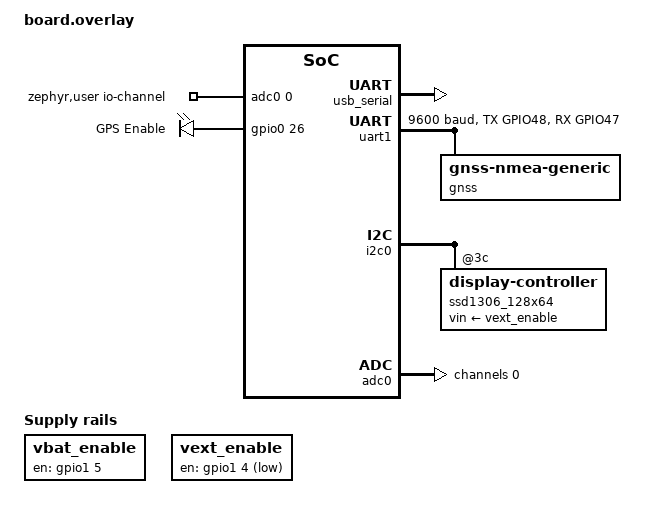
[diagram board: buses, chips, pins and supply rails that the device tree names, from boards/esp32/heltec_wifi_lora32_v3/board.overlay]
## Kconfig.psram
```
# SPDX-License-Identifier: MIT
#
# DT-driven PSRAM auto-enable for ESP32 boards.
#
# Each ESP32 board DTS sets &psram0 { size = ...; } when its module has PSRAM
# stuffed (R-suffix in the Espressif part number); since Zephyr 4.5 the board
# declares it, the per-module esp32*_wroom_n*r*.dtsi files are gone.  We
# auto-enable PSRAM whenever the DTS size is non-zero — the upstream
# Kconfig.spiram then auto-reads ESP_SPIRAM_SIZE from the same DT property.
#
# Boards without PSRAM leave psram0 at the SoC dtsi's size = 0 — auto-detect
# leaves PSRAM off for them.
# ESP32-C3 and ESP32-C6 are outside Kconfig.spiram's SOC gate entirely, so
# this symbol doesn't exist on those builds — no effect.
#
# Mode (QUAD vs OCT) cannot be auto-picked here: upstream Kconfig.spiram
# sets an unconditional `default SPIRAM_MODE_QUAD` on the choice, which wins
# over any conditional default we'd add. ESP32-S3 R8 boards (8 MB OPI octal
# PSRAM) must set CONFIG_SPIRAM_MODE_OCT=y in their board.conf. R2 boards
# (2 MB QSPI quad) need nothing — QUAD is the upstream default.

config ESP_SPIRAM
	default y if (SOC_SERIES_ESP32 || SOC_SERIES_ESP32S2 || SOC_SERIES_ESP32S3 || SOC_SERIES_ESP32C5) && \
		"$(dt_node_int_prop_int,$(dt_nodelabel_path,psram0),size)" != 0
```

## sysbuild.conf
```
# ZephCore Sysbuild Configuration
# Enables MCUboot bootloader for ESP32 OTA firmware updates.
# Only used when building with --sysbuild flag (ESP32 repeater builds).
# nRF52/nRF54L/MG24 builds do NOT use --sysbuild and are unaffected.

SB_CONFIG_BOOTLOADER_MCUBOOT=y
SB_CONFIG_MCUBOOT_MODE_OVERWRITE_ONLY=y

# Explicit since Zephyr 4.5: 51ef282b5f1 moved Espressif sysbuild to the generic
# MCUboot defaults, whose signature type is RSA.  That silently turned the
# bootloader into an RSA-2048 verifier keyed to MCUboot's public development
# key -- no real security, ~19 KB of mbedTLS/PSA that overflowed the 64 KB
# MCUboot slot on several boards (the app written at 0x10000 then overwrites
# the bootloader's tail), and a bootloader that rejects the hash-only images
# every deployed ESP32 node and WiFi-OTA update uses.  NONE = hash check only,
# exactly what v4.4 built.  Moving to real signing (own key) is a separate
# decision with OTA consequences.
SB_CONFIG_BOOT_SIGNATURE_TYPE_NONE=y
```

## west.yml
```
manifest:
  remotes:
    - name: zephyrproject-rtos
      url-base: https://github.com/zephyrproject-rtos

  projects:
    - name: zephyr
      remote: zephyrproject-rtos
      revision: 1ee3b93134be23c16ab16b9eb4183bfef63447a6
      import: true

  self:
    path: zephcore
```

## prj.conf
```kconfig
# ZephCore - Main Project Configuration
#
# This file contains ONLY console/logging setup and includes common configs.
# Platform-specific configs are in boards/common/<platform>_common.conf
# Board-specific configs (pins only) are in boards/<board>.conf
#
# Include hierarchy:
#   prj.conf (this file - logging/console)
#   → boards/common/zephcore_common.conf (app features, crypto, sensors)
#   → boards/common/<platform>_common.conf (BLE, flash, storage)
#   → boards/<board>.conf (pins, board-specific features)

# ========== Console & Logging ==========
CONFIG_CONSOLE=y
CONFIG_UART_CONSOLE=y
CONFIG_UART_INTERRUPT_DRIVEN=y

# Production by default — add boards/common/debug.conf to enable logging.
CONFIG_LOG=n
CONFIG_ASSERT=n
CONFIG_USE_SEGGER_RTT=n
CONFIG_THREAD_NAME=n

# Reboot on any fatal error (stack overflow, hard fault, etc.) instead of
# spinning forever. Asserts are disabled so they won't reach here, but all
# other fatal paths (k_panic, CPU exceptions) still get a clean reboot.
CONFIG_ZEPHCORE_RESET_ON_FATAL_ERROR=y

# ========== Power Management ==========
# Device PM only — CONFIG_PM (system PM) stays off. nRF52/nRF54L have no
# devicetree power-states in Zephyr 4.4 (WFI in the idle thread is already
# the low-power System ON state); ESP32/STM32WL do have states but need
# their own bring-up (BLE/WiFi/radio wake paths) before CONFIG_PM can go on.
#
# CONFIG_PM_DEVICE alone suspends nothing automatically: PM actions run only
# when we call pm_device_action_run() (always from the main thread). The
# system-managed auto-suspend (PM_DEVICE_SYSTEM_MANAGED) is compiled only
# under CONFIG_PM; it is pinned off here so a platform that later enables
# CONFIG_PM can't silently start suspending devices from the idle thread.
#
# Why device PM is on:
# - gnss-nmea-generic inits pm_device_init_suspended() under CONFIG_PM_DEVICE
#   and never opens its modem pipe until resumed; ZephyrGPSManager resumes it
#   once at boot (this was the old "PM broke GPS" trap).
# - GPS standby suspends the GNSS UARTE — an armed UARTE RX holds HFCLK
#   (~0.5-1 mA continuous on nRF52840) even with the GPS module powered off.
#   See adapters/gps/ZephyrGPSManager.cpp for the full strategy.
CONFIG_PM_DEVICE=y
CONFIG_PM_DEVICE_SYSTEM_MANAGED=n
```

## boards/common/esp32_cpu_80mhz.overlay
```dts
/*
 * SPDX-License-Identifier: MIT
 * ESP32 family: run the CPU at 80 MHz.
 *
 * Espressif parts have no equivalent of the nRF52's "idle at microamps in
 * WFI": WAITI gates the core clock but leaves the PLL, peripherals and RAM
 * powered, so an idle ESP32 sits in the tens of mA and CPU frequency is a
 * first-order term in that. Arduino MeshCore ships its ESP32 variants at
 * 80 MHz for the same reason (ESP32_CPU_FREQ=80 in variants/heltec_v3,
 * heltec_v4, heltec_tracker, rak3112, xiao_c3, ...).
 *
 * hal_espressif computes CONFIG_ESP_DEFAULT_CPU_FREQ_MHZ as this property / 1e6
 * straight from /cpus/cpu@0, so 80 needs no module patch.  (Older pins used a
 * fixed 96/120/160/240 map that omitted 80; we carried hal-espressif 0002 for
 * it until the Zephyr-main bump.)  Do NOT use 96 -- it is an ESP32-H2
 * frequency, rejected by rtc_clk_cpu_freq_mhz_to_config() on every SoC we
 * build, and it fails at BOOT rather than at build time.
 *
 * The mesh workload is event-driven and nowhere near CPU-bound: wake on a
 * packet, run some AES and LittleFS, go back to idle. Airtime dominates every
 * latency that matters — the slowest presets spend seconds on air per packet.
 *
 * Only cpu0 is set, deliberately. clock_control_esp32.c reads exactly
 * DT_INST(0, DT_CPU_COMPAT) — cpu0 — so a cpu1 property is never consulted,
 * and omitting it lets this one file serve the dual-core Xtensa parts (S3,
 * classic) and the single-core RISC-V parts (C3, C6) alike. Referencing
 * &cpu1 here would be a dtc error on the latter.
 *
 * Applied automatically to non-observer ESP32 builds — see the ESP32 CPU
 * clock block in CMakeLists.txt. Kept out of the per-board DTS files on
 * purpose: one place to change, and it makes the observer exception a simple
 * "don't include this" rather than an override that would have to know each
 * SoC's maximum (240 MHz on S3/classic, 160 MHz on C3/C6).
 */

&cpu0 {
	clock-frequency = <DT_FREQ_M(80)>;
};
```

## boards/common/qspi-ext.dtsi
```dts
/*
 * SPDX-License-Identifier: MIT
 * QSPI external flash /ext — optional add-on for any platform
 *
 * See nrf52_partitions_sdv7.dtsi for full include guide.
 *
 * When /ext is available, ZephyrDataStore redirects contacts, channels,
 * and blobs to QSPI flash (more space, faster writes on native 4KB blocks).
 * Prefs and identity stay on internal flash.
 *
 * Requires board DTS to define: qspi_flash (the flash device node) and
 * qspi_storage_partition
 *
 * Usage in board overlay (in addition to partition or filesystem include):
 *   #include "../../common/qspi-ext.dtsi"
 *
 * Works with all platforms using /lfs mount.
 */

/*
 * The flash is not probed at boot. On boards where it sits behind a switched
 * rail, the boot-time JEDEC read could beat a cold rail (first boot after a
 * UF2 update, or a power-up): the driver failed, /ext stayed unmounted and
 * contacts/channels silently fell back to internal flash. A warm reboot keeps
 * the rail charged, which is why only updates showed it. The store initialises
 * the flash and mounts /ext on first use (zephcore_fs_mount_ext()), so /ext is
 * not automounted either.
 *
 * t-exit-dpd (nanoseconds, so 50 us) is how long the driver waits after
 * Release-from-Deep-Power-Down, which it sends once at init to wake a part a
 * previous firmware left asleep. Boards used to carry 30, 35 or 50 us each; 50
 * covers all of them, and the extra few us run once per flash init. It
 * assumes a powered part, so it does nothing for the cold-rail race above.
 */
&qspi_flash {
	zephyr,deferred-init;
	t-exit-dpd = <50000>;
};

/ {
	fstab {
		/* External QSPI for contacts, channels, blobs */
		qspi_lfs: qspi_lfs {
			compatible = "zephyr,fstab,littlefs";
			mount-point = "/ext";
			partition = <&qspi_storage_partition>;
			read-size = <16>;
			prog-size = <16>;
			cache-size = <64>;
			lookahead-size = <32>;
			block-cycles = <512>;
		};
	};
};
```

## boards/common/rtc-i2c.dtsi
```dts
/*
 * Common I2C Real-Time-Clock descriptors for ZephCore
 * SPDX-License-Identifier: MIT
 *
 * OPT-IN: include this inside an &i2cN { ... } block ONLY on boards that
 * physically have a battery/cap-backed RTC. Kept separate from
 * sensors-i2c.dtsi because these declare fixed I2C addresses (0x68/0x51/
 * 0x52/0x32) that collide with common parts — an IMU/accelerometer sits at
 * 0x68 (same as DS3231). Including this on a board without an RTC would risk
 * a devicetree unit-address clash and a runtime mis-probe, so it is opt-in.
 *
 * Usage (board overlay/dts, alongside the sensors include):
 *   &i2c0 {
 *       #include "../../common/sensors-i2c.dtsi"
 *       #include "../../common/rtc-i2c.dtsi"
 *   };
 *
 * These bind NO Zephyr RTC driver — they're data-only descriptors the
 * boot-time auto-discovery (adapters/clock/ZephyrRTCDiscover.c) probes via
 * raw I2C to restore wall-clock time at boot. A chip that isn't actually
 * present fails the probe and is skipped. One chip per I2C address:
 *
 *  Chip      │ Addr │ Also covers (same regs)
 *  ──────────┼──────┼─────────────────────────
 *  DS3231    │ 0x68 │ DS1307, DS3232
 *  PCF8563   │ 0x51 │ —   (PCF85063A is 0x51 too but differs — override)
 *  RV3028    │ 0x52 │ —
 *  RX8130CE  │ 0x32 │ —   (RV8803 is 0x32 too but differs — override)
 *
 * status-reg 0xFF means the power-loss flag is in the seconds byte. A board
 * with a same-address variant should /delete-node/ the conflicting one and
 * add its own in the board overlay.
 */

rtc_ds3231: rtc-ds3231@68 {
	compatible = "zephcore,rtc-i2c";
	reg = <0x68>;
	time-reg = <0x00>;
	date-index = <4>;
	status-reg = <0x0F>;   /* control/status */
	status-mask = <0x80>;  /* OSF — oscillator stopped */
	/* Hours bit 6, 12-hour mode: DS3231 (p. 12), DS1307 (p. 8). In the
	 * time block, so the zero byte is unused. */
	twelve-hour-bit = [02 40 00];
	/* Bits shown as 0 in all three parts: DS3231 (19-5170 Rev 10, Figure 1,
	 * p. 11) and DS3232 (19-5337 Rev 5, Figure 1, p. 11), where 05h bit 7 is
	 * Century, and DS1307 (Rev 3/15, Table 2, p. 8, "always reads back as
	 * 0"). 00h bit 7 is left out: it is the DS1307's clock-halt bit, set on
	 * a new chip. On a DS1307, 0Fh is RAM, so status-reg reads a user byte. */
	zero-mask = [00 80 80 f8 c0 60 00];
};

rtc_pcf8563: rtc-pcf8563@51 {
	compatible = "zephcore,rtc-i2c";
	reg = <0x51>;
	time-reg = <0x02>;
	date-index = <3>;      /* PCF8563 puts date before weekday */
	status-reg = <0xFF>;   /* flag is in the seconds byte */
	status-mask = <0x80>;  /* VL — clock integrity not guaranteed */
	/* No zero-mask: the data sheet (Rev. 11.1, Table 4, p. 10) marks the
	 * unused bits "not relevant", not 0. */
};

rtc_rv3028: rtc-rv3028@52 {
	compatible = "zephcore,rtc-i2c";
	reg = <0x52>;
	time-reg = <0x00>;
	date-index = <4>;
	status-reg = <0x0e>;   /* status */
	status-mask = <0x01>;  /* PORF — power-on reset */
	twelve-hour-bit = [10 02 01];  /* Control 2 12_24; RESET reads 0, p. 24 */
	/* RV-3028-C7 Application Manual Rev. 1.4, 3.2, p. 12 */
	zero-mask = [80 80 c0 f8 c0 e0 00];
};

rtc_rx8130ce: rtc-rx8130ce@32 {
	compatible = "zephcore,rtc-i2c";
	reg = <0x32>;
	time-reg = <0x10>;
	date-index = <4>;
	status-reg = <0x1d>;   /* flag */
	status-mask = <0x02>;  /* VLF — voltage low */
	/* RX8130CE Application Manual ETM50E-10, 13.2.1 Table 12, p. 22 */
	zero-mask = [80 80 c0 80 c0 e0 00];
	/* 14.1.2 Table 15, p. 27: Sunday 01h ... Saturday 40h */
	weekday-one-hot;
};
```

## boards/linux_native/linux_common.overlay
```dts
/*
 * SPDX-License-Identifier: MIT
 *
 * ZephCore native Linux PLATFORM overlay (auto-paired with linux_common.conf,
 * applied automatically for BOARD=native_sim).
 *
 * Platform infrastructure ONLY — it disables native_sim's emulated SPI/GPIO
 * and SDL display, and sets up the LittleFS partition. The radio wiring and
 * the native_linux SPI/GPIO controller nodes live in the per-device preset
 * overlay (femtofox.overlay, rak6421.overlay, rak6421_pi5.overlay).
 *
 * You MUST pass a device preset via EXTRA_CONF_FILE, e.g.
 *   -DEXTRA_CONF_FILE="boards/linux_native/femtofox.conf"
 * A bare `-b native_sim` build with no device preset has no SX1262 node and
 * will fail to link the radio adapter (no `lora0` alias).
 */

/* Disable the native_sim emulated controllers — each device preset adds its
 * own zephcore_spi0 / zephcore_gpio0 backed by real /dev/spidev* + /dev/gpiochip*. */
&spi0 {
	status = "disabled";
};

&gpio0 {
	status = "disabled";
};

/* LittleFS on native_sim's simulated flash.
 * The native_sim board DTS allocates the first 1MB (0x0..0xfffff) for
 * MCUBoot + OTA slots. The second half (0x100000..0x1fffff = 1MB) is unused;
 * use 512KB of it for LittleFS — 128 × 4KB blocks, plenty for identity,
 * prefs, contacts, and channels.
 * The sim-flash is FILE-BACKED on native_sim (ARCH_POSIX): it persists across
 * restarts in meshcore_settings_<hostname>.bin in the binary's working dir
 * (see patches/zephyr/0008-flash-sim-per-node-file.patch). Pass --flash=<path>
 * to override, or --flash_in_ram to make it ephemeral. */
&flash0 {
	partitions {
		lfs_partition: partition@100000 {
			compatible = "zephyr,mapped-partition";
			label = "lfs";
			reg = <0x00100000 0x00080000>; /* 512 KB */
		};
	};
};

#include "../common/filesystem.dtsi"

/* Disable the SDL emulated display + touch (headless SBC; the SDL2 dev library
 * isn't a useful dep, and HAS_SDL would otherwise get selected). */
&sdl_dc {
	status = "disabled";
};

&input_sdl_touch {
	status = "disabled";
};

/ {
	chosen {
		/delete-property/ zephyr,display;
		/delete-property/ zephyr,touch;
	};
	aliases {
		/* native_sim's base DTS attaches led0 to the emulated gpio0 we just
		 * disabled; drop it so helpers/ui/ui_common.c has no dangling
		 * DEVICE_DT_GET. */
		/delete-property/ led0;
	};
};

/ {
	/delete-node/ leds;
};
```

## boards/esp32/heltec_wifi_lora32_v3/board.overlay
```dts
/*
 * SPDX-License-Identifier: MIT
 * Heltec WiFi LoRa 32 V3 — ZephCore overlay
 *
 * The upstream Zephyr DTS already defines SX1262, SSD1306 OLED, button,
 * LED, battery ADC, Vext/ADC control, I2C0, SPI2, BLE, and WiFi.
 * This overlay adds ZephCore-specific integration on top.
 *
 * LoRa SPI2 pins:  SCLK=9, MOSI=10, MISO=11, NSS=8
 * LoRa control:    DIO1=14, BUSY=13, RESET=12
 * Display I2C0:    SDA=17, SCL=18 (SSD1306 @ 0x3C)
 * Battery ADC:     GPIO1 = ADC1 ch0 (&adc0), enable GPIO37 active-HIGH, divider 100K/390K
 * Vext:            GPIO36 (active-LOW, powers OLED) — regulator + vin-supply in overlay
 * Button:          GPIO0
 * LED:             GPIO35
 * GPS UART1:       TX=GPIO48, RX=GPIO47, 9600 baud (optional external module)
 * GPS enable:      GPIO26 (active-HIGH)
 */

#include <zephyr/dt-bindings/input/input-event-codes.h>
#include <zephyr/dt-bindings/adc/adc.h>
#include <zephyr/dt-bindings/gpio/espressif-esp32-gpio.h>
#include <zephyr/dt-bindings/pinctrl/esp-pinctrl-common.h>
#include <zephyr/dt-bindings/pinctrl/esp32s3-pinctrl.h>
#include <zephyr/dt-bindings/pinctrl/esp32s3-gpio-sigmap.h>

/ {
	chosen {
		/* Keep console/shell on UART0 for stable host logging on V3 */
		zephyr,console = &uart0;
		zephyr,shell-uart = &uart0;
		/* Plain-UART companion backend (CONFIG_ZEPHCORE_COMPANION_SERIAL):
		 * the wired companion + text CLI run over uart0 (USB-C via CP2102).
		 * Inert unless that conf is built; in a serial-companion build the
		 * conf also moves console/shell off uart0 so the companion owns it. */
		zephcore,companion-uart = &uart0;
	};

	/* Add label to upstream buttons node (defined without one) */
	buttons: buttons {
	};

	/* Battery ADC — ZephCore reads via zephyr,user { io-channels }.
	 * Upstream vbatt node uses voltage-divider compatible which ZephCore
	 * doesn't use (deleted below).
	 *
	 * IMPORTANT: the battery pin is GPIO1 = ADC unit 1 channel 0. In the
	 * upstream esp32s3 DTS the node *labelled* adc0 is unit 1 and the node
	 * labelled adc1 is unit 2 (the label is 0-indexed, the unit is 1-indexed).
	 * So GPIO1 lives on &adc0. The previous &adc1 (unit 2) channel 0 mapped to
	 * ADC2_CH0 = GPIO11 = the SX1262 MISO — wrong peripheral, always read 0.
	 *
	 * Multiplier: Vref_internal(1100) * divider_ratio(5.2) = 5720, matching the
	 * Heltec Wireless Tracker on the same 100K/390K divider (was 17886, which
	 * assumed a 3300mV full-scale that ADC_REF_INTERNAL does not provide). */
	zephyr,user {
		io-channels = <&adc0 0>;
		vbat-mv-multiplier = <5720>;
	};

	/* Battery ADC enable — GPIO37 (gpio1 pin 5) must be driven to read.
	 * Upstream has an adc_ctrl power-domain-gpio on the same GPIO37; it is
	 * deleted below so this regulator is the sole owner (else the two fight
	 * over the pin and the per-read enable/disable in ZephyrBoard is not
	 * deterministic). Active-HIGH on V3.2/V4 (transistor in the enable path);
	 * the previous GPIO_ACTIVE_LOW never powered the divider so the read was 0.
	 * ZephyrBoard toggles this per read, so between reads the divider draws
	 * nothing. (Early V3 boards may need GPIO_ACTIVE_LOW — see GH #50.) */
	vbat_enable: vbat-enable {
		compatible = "regulator-fixed";
		regulator-name = "vbat-enable";
		enable-gpios = <&gpio1 5 GPIO_ACTIVE_HIGH>;
	};

	/* Vext — GPIO36, active-LOW enables rail (matches Arduino periph_power / MeshCore
	 * PIN_VEXT_EN). Replaces upstream vext_ctrl power-domain so SSD1306 init works with
	 * CONFIG_PM_DEVICE=n. */
	vext_enable: vext-enable {
		compatible = "regulator-fixed";
		regulator-name = "vext";
		enable-gpios = <&gpio1 4 (GPIO_PULL_UP | GPIO_ACTIVE_LOW | ESP32_GPIO_SLEEP_HOLD_EN)>;
		regulator-boot-on;
		regulator-always-on;
	};

	/* GPS enable — GPIO26, active-HIGH (Arduino MeshCore PIN_GPS_EN=26; its
	 * PIN_GPS_EN_ACTIVE defaults to HIGH and this variant does not override it).
	 * ZephCore's simple-board GPS manager drives this via the gps-enable alias.
	 *
	 * GPIO26 is SPICS1 on the ESP32-S3 — a flash/PSRAM-range pad. It is free
	 * here because the V3 carries an ESP32-S3FN8 (in-package flash, no PSRAM),
	 * so nothing claims the PSRAM chip select. Do not reuse this pin on a V3
	 * respin that adds PSRAM. */
	gps_en: gps-enable {
		compatible = "gpio-leds";
		gps_enable_pin: gps_enable {
			gpios = <&gpio0 26 GPIO_ACTIVE_HIGH>;
			label = "GPS Enable";
		};
	};

	aliases {
		gps-enable = &gps_enable_pin;
	};

	/* Button chain — same mapping as RAK4631 / WisMesh Pocket (rak4631/board.overlay). */
	user_btn_longpress {
		compatible = "zephyr,input-longpress";
		input = <&buttons>;
		input-codes = <INPUT_KEY_0>;
		short-codes = <INPUT_KEY_A>;
		long-codes = <INPUT_KEY_ENTER>;
		long-delay-ms = <1000>;
	};

	page_btn_multitap {
		compatible = "zephcore,input-multi-tap";
		input-codes = <INPUT_KEY_A>;
		tap-codes = <INPUT_KEY_1 INPUT_KEY_LEFT>;
		tap-delay-ms = <400>;
	};
};

/* Enable native USB serial for console/CLI */
&usb_serial {
	status = "okay";
};

/* Add RX boosted mode and DIO1 pull-down to LoRa radio.
 * Upstream omits rx-boosted and has no pull-down on DIO1. */
&lora0 {
	dio1-gpios = <&gpio0 14 (GPIO_PULL_DOWN | GPIO_ACTIVE_HIGH)>;
	rx-boosted;
	/* Held across light sleep with NSS below; inert when CONFIG_PM=n. */
	reset-gpios = <&gpio0 12 (GPIO_OPEN_DRAIN | GPIO_ACTIVE_LOW | ESP32_GPIO_SLEEP_HOLD_EN)>;
};

/* NSS held across light sleep (boards/common/pm_esp32.overlay): an
 * isolated, floating chip-select lets the sleeping SX1262 clock garbage
 * into its retention RAM.  Inert when CONFIG_PM=n. */
&spi2 {
	cs-gpios = <&gpio0 8 (GPIO_ACTIVE_LOW | ESP32_GPIO_SLEEP_HOLD_EN)>;
};

/* GPS on UART1 — optional external NMEA module on the pin header, wired to the
 * same pins Arduino MeshCore uses for this board (PIN_GPS_RX=47, PIN_GPS_TX=48).
 * Upstream leaves uart1 disabled and gives it no pinctrl, so both are set here.
 * GPIO47/48 are otherwise unclaimed on the V3; the console stays on uart0
 * (GPIO43/44). 9600 baud matches Arduino's default for this variant.
 *
 * The node is unconditional, like the RAK4631's gnss node for the optional
 * RAK1910: with no module fitted the driver simply never sees a fix. */
&pinctrl {
	uart1_default: uart1_default {
		group1 {
			pinmux = <UART1_TX_GPIO48>;
			output-high;
		};

		group2 {
			pinmux = <UART1_RX_GPIO47>;
			bias-pull-up;
		};
	};
};

&uart1 {
	status = "okay";
	current-speed = <9600>;
	pinctrl-0 = <&uart1_default>;
	pinctrl-names = "default";

	gnss: gnss-nmea-generic {
		compatible = "gnss-nmea-generic";
	};
};

/* I2C sensors — auto-detected at runtime */
&i2c0 {
	#include "../../common/sensors-i2c.dtsi"

	ssd1306_128x64: display-controller@3c {
		/delete-property/ power-domains;
		vin-supply = <&vext_enable>;
	};
};

/*
 * Flash partitions live in partitions.overlay (this dir) so the identical map is
 * fed to both the app and the MCUboot image — see that file and sysbuild/CMakeLists.txt.
 */

/* LittleFS auto-mount — standard /lfs mount point */
#include "../../common/filesystem.dtsi"

/* After SSD1306 no longer references vext_ctrl, remove upstream power-domain node. */
/delete-node/ &vext_ctrl;

/* Battery ADC channel configuration on adc0 (ADC unit 1 -> GPIO1).
 * adc0 is status="disabled" upstream, so enable it here. Without the channel
 * node adc_channel_setup_dt() fails and getBattMilliVolts() returns 0 before it
 * ever performs a conversion — the primary cause of the hard "0% (0mV)".
 * ADC_GAIN_1 = 0 dB with ADC_REF_INTERNAL (~1100 mV); the divider output for a
 * 3.0-4.2 V cell (~580-810 mV) sits well inside range. */
&adc0 {
	status = "okay";
	#address-cells = <1>;
	#size-cells = <0>;

	channel@0 {
		reg = <0>;
		zephyr,gain = "ADC_GAIN_1";
		zephyr,reference = "ADC_REF_INTERNAL";
		zephyr,acquisition-time = <ADC_ACQ_TIME_DEFAULT>;
		zephyr,resolution = <12>;
	};
};

/* Remove the upstream 'vbatt' voltage-divider (io-channels on &adc1 = unit 2 =
 * GPIO11 = SX1262 MISO — wrong node) and the adc_ctrl power-domain that also
 * claims GPIO37 and fights the vbat_enable regulator above. */
/ {
	/delete-node/ vbatt;
};
/delete-node/ &adc_ctrl;

/* ADC unit 2 (label adc1) is unused on this board; keep it disabled so nothing
 * can claim GPIO11 (SX1262 MISO) as an ADC pad. */
&adc1 {
	status = "disabled";
};
```

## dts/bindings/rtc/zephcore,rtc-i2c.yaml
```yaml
# SPDX-License-Identifier: MIT
#
# Data-only descriptor for an I2C RTC chip read by ZephyrRTCDiscover
# (adapters/clock/ZephyrRTCDiscover.c). This binds NO Zephyr RTC driver —
# the chip is accessed with raw I2C using the register layout described by
# the properties below. This keeps the boot-time RTC restore compact
# (~2-3 KB total, "Path B") instead of pulling in the full RTC subsystem.
#
# All supported chips use a 7-byte time block (sec, min, hour, then
# weekday/date, month, year) starting at "time-reg", BCD in every field but
# the weekday. The day-of-month byte offset varies between parts, captured
# by "date-index". The weekday is written as a number 0-6 (Sunday 0), as
# Zephyr's DS3231, PCF8563 and RV3028 drivers write it, or as one bit per
# day where "weekday-one-hot" is set.

description: ZephCore data-only I2C RTC descriptor (raw-I2C, no Zephyr RTC driver)

compatible: "zephcore,rtc-i2c"

include: [i2c-device.yaml]

properties:
  time-reg:
    type: int
    required: true
    description: Register address of the seconds byte (start of the 7-byte time block).

  date-index:
    type: int
    required: true
    description: >
      Byte offset of the day-of-month within the 7-byte block. 4 for chips
      ordered sec/min/hour/weekday/date/month/year (DS3231, RV3028, RX8130CE);
      3 for PCF8563 which swaps to sec/min/hour/date/weekday/month/year.

  status-reg:
    type: int
    required: true
    description: >
      Register holding the "time invalid / power was lost" flag. Use 0xFF to
      indicate the flag lives in the seconds byte itself (PCF8563 VL bit).

  status-mask:
    type: int
    required: true
    description: Bit mask within status-reg that means the held time is unreliable.

  zero-mask:
    type: uint8-array
    description: >
      Seven bytes, one per register of the time block in block order: the
      bits the chip's data sheet shows as reading 0. A device that
      shows one of them, or seconds, minutes, date or month out of range
      while the power-loss flag does not read as set, on two reads, is not
      this RTC and is never adopted. Leave it out for a chip whose unused
      bits are not documented as reading 0.

  weekday-one-hot:
    type: boolean
    description: >
      The weekday register holds one bit per day (Sunday bit 0 to Saturday
      bit 6) rather than a number 0-6. Set it for a chip whose data sheet
      says so, such as the RX8130CE.

  twelve-hour-bit:
    type: uint8-array
    description: >
      [register mask]: a bit outside the time block that reads set in
      12-hour mode, where clearing it makes the chip convert its own
      hours to 24-hour, such as the RV3028's Control 2 12_24. Once the
      chip is cleanly identified, a set bit is cleared before a time is
      taken from it. No time is taken if the register cannot be read or
      reads FFh, or if the write or the re-read fails.

  rv3028-eeprom-config:
    type: uint8-array
    description: >
      RV3028 only. (register, mask, value) triplets for the chip's
      EEPROM-backed configuration registers 0x35 (CLKOUT) to 0x37
      (backup switchover and trickle charger), one triplet per register,
      masking implemented bits only (35h bits 5:4 are not); any other
      triplet is ignored. When a read identifies the chip, it is
      adopted, and no switchover showed during its time read, any
      register whose masked bits differ is written to the chip's EEPROM,
      one byte at a time with backup switchover held off, so the chip's
      own refresh from EEPROM keeps it. If that fails, the config is set
      in the RAM mirror once the chip's EEbusy flag reads 0, and lasts
      until the chip's next refresh from EEPROM (daily while EERD is
      clear); if EEbusy never clears, switchover stays as the store left
      it, off once the store has disabled it, until a retry or that
      refresh. The store is retried up to 3 times, 10 minutes apart,
      identifying the chip again first; a boot whose read could not
      identify it cleanly waits for those retries. The time is read at
      boot and written on each sync within 2000-2099 with the chip's
      backup switch flag cleared before and checked after. A write sets
      year 00h first and the real year last, so a write cut by a power
      loss reads as "time not yet set", and a write not confirmed is
      repeated every 5 s, up to 12 times. Set it only on a board whose
      backup supply is known: trickle charging suits a supercapacitor or
      rechargeable cell, never a primary cell.
```

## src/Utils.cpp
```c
/*
 * SPDX-License-Identifier: MIT
 * ZephCore Utils - PSA Crypto backend for AES-ECB, SHA256, HMAC
 */

#include <mesh/Utils.h>
#include <psa/crypto.h>
#include <string.h>
#include <zephyr/sys/printk.h>
#include <zephyr/sys/reboot.h>

#include <zephyr/logging/log.h>
LOG_MODULE_REGISTER(zephcore_utils, CONFIG_ZEPHCORE_MAIN_LOG_LEVEL);

namespace mesh {

static uint8_t hexVal(char c)
{
	if (c >= 'A' && c <= 'F') return c - 'A' + 10;
	if (c >= 'a' && c <= 'f') return c - 'a' + 10;
	if (c >= '0' && c <= '9') return c - '0';
	return 0;
}

void Utils::sha256(uint8_t *hash, size_t hash_len, const uint8_t *msg, int msg_len)
{
	uint8_t full_hash[32];
	size_t out_len;
	psa_status_t status = psa_hash_compute(PSA_ALG_SHA_256, msg, (size_t)msg_len,
	                                       full_hash, sizeof(full_hash), &out_len);
	if (status != PSA_SUCCESS) {
		LOG_ERR("psa_hash_compute failed: %d", (int)status);
		memset(hash, 0, hash_len);
		return;
	}
	size_t copy_len = (hash_len < 32) ? hash_len : 32;
	memcpy(hash, full_hash, copy_len);
}

void Utils::sha256(uint8_t *hash, size_t hash_len, const uint8_t *frag1, int frag1_len, const uint8_t *frag2, int frag2_len)
{
	psa_hash_operation_t op = PSA_HASH_OPERATION_INIT;
	psa_status_t status;

	status = psa_hash_setup(&op, PSA_ALG_SHA_256);
	if (status != PSA_SUCCESS) goto fail;

	status = psa_hash_update(&op, frag1, (size_t)frag1_len);
	if (status != PSA_SUCCESS) goto fail;

	status = psa_hash_update(&op, frag2, (size_t)frag2_len);
	if (status != PSA_SUCCESS) goto fail;

	{
		uint8_t full_hash[32];
		size_t out_len;
		status = psa_hash_finish(&op, full_hash, sizeof(full_hash), &out_len);
		if (status != PSA_SUCCESS) goto fail;
		size_t copy_len = (hash_len < 32) ? hash_len : 32;
		memcpy(hash, full_hash, copy_len);
	}
	return;

fail:
	LOG_ERR("sha256 (2-frag) failed: %d", (int)status);
	psa_hash_abort(&op);
	memset(hash, 0, hash_len);
}

/* AES-ECB using PSA Crypto (ECB_NO_PADDING) */
static int aes_ecb_crypt(const uint8_t *key, size_t key_len, const uint8_t *src, int src_len,
			 uint8_t *dest, bool encrypt)
{
	if (src_len % 16 != 0) {
		LOG_ERR("src_len=%d not multiple of 16", src_len);
		return -1;
	}

	psa_key_attributes_t attr = PSA_KEY_ATTRIBUTES_INIT;
	psa_set_key_type(&attr, PSA_KEY_TYPE_AES);
	psa_set_key_bits(&attr, key_len * 8);
	psa_set_key_usage_flags(&attr, encrypt ? PSA_KEY_USAGE_ENCRYPT : PSA_KEY_USAGE_DECRYPT);
	psa_set_key_algorithm(&attr, PSA_ALG_ECB_NO_PADDING);

	psa_key_id_t key_id;
	psa_status_t status = psa_import_key(&attr, key, key_len, &key_id);
	if (status != PSA_SUCCESS) {
		LOG_ERR("psa_import_key failed: %d", (int)status);
		return -1;
	}

	size_t out_len;
	if (encrypt) {
		status = psa_cipher_encrypt(key_id, PSA_ALG_ECB_NO_PADDING,
		                            src, (size_t)src_len, dest, (size_t)src_len, &out_len);
	} else {
		status = psa_cipher_decrypt(key_id, PSA_ALG_ECB_NO_PADDING,
		                            src, (size_t)src_len, dest, (size_t)src_len, &out_len);
	}

	psa_destroy_key(key_id);

	if (status != PSA_SUCCESS) {
		LOG_ERR("psa_cipher_%s failed: %d", encrypt ? "encrypt" : "decrypt", (int)status);
		return -1;
	}

	return (int)out_len;
}

int Utils::encrypt(const uint8_t *shared_secret, uint8_t *dest, const uint8_t *src, int src_len)
{
	uint8_t tmp[MAX_PACKET_PAYLOAD + CIPHER_BLOCK_SIZE];
	const uint8_t *sp = src;
	uint8_t *dp = tmp;
	int rem = src_len;
	while (rem >= (int)CIPHER_BLOCK_SIZE) {
		memcpy(dp, sp, CIPHER_BLOCK_SIZE);
		dp += CIPHER_BLOCK_SIZE;
		sp += CIPHER_BLOCK_SIZE;
		rem -= CIPHER_BLOCK_SIZE;
	}
	if (rem > 0) {
		memset(dp, 0, CIPHER_BLOCK_SIZE);
		memcpy(dp, sp, (size_t)rem);
		dp += CIPHER_BLOCK_SIZE;
	}
	int total = (int)(dp - tmp);
	int n = aes_ecb_crypt(shared_secret, CIPHER_KEY_SIZE, tmp, total, dest, true);
	return (n > 0) ? n : 0;
}

int Utils::decrypt(const uint8_t *shared_secret, uint8_t *dest, const uint8_t *src, int src_len)
{
	int n = aes_ecb_crypt(shared_secret, CIPHER_KEY_SIZE, src, src_len, dest, false);
	return (n > 0) ? n : 0;
}

/* HMAC-SHA256 using PSA Crypto */
static int compute_hmac_truncated(const uint8_t *key, size_t key_len, const uint8_t *data, size_t data_len, uint8_t *mac_out, size_t mac_len)
{
	psa_key_attributes_t attr = PSA_KEY_ATTRIBUTES_INIT;
	psa_set_key_type(&attr, PSA_KEY_TYPE_HMAC);
	psa_set_key_bits(&attr, key_len * 8);
	psa_set_key_usage_flags(&attr, PSA_KEY_USAGE_SIGN_MESSAGE);
	psa_set_key_algorithm(&attr, PSA_ALG_HMAC(PSA_ALG_SHA_256));

	psa_key_id_t key_id;
	psa_status_t status = psa_import_key(&attr, key, key_len, &key_id);
	if (status != PSA_SUCCESS) {
		LOG_ERR("compute_hmac: import_key failed: %d", (int)status);
		return -1;
	}

	uint8_t full_hmac[32];
	size_t out_len;
	status = psa_mac_compute(key_id, PSA_ALG_HMAC(PSA_ALG_SHA_256),
	                         data, data_len, full_hmac, sizeof(full_hmac), &out_len);
	psa_destroy_key(key_id);

	if (status != PSA_SUCCESS) {
		LOG_ERR("compute_hmac: psa_mac_compute failed: %d", (int)status);
		return -1;
	}

	memcpy(mac_out, full_hmac, mac_len);
	return 0;
}

int Utils::encryptThenMAC(const uint8_t *shared_secret, uint8_t *dest, const uint8_t *src, int src_len)
{
	int enc_len = encrypt(shared_secret, dest + CIPHER_MAC_SIZE, src, src_len);
	if (enc_len <= 0) return 0;
	if (compute_hmac_truncated(shared_secret, PUB_KEY_SIZE, dest + CIPHER_MAC_SIZE, (size_t)enc_len, dest, CIPHER_MAC_SIZE) != 0)
		return 0;
	return CIPHER_MAC_SIZE + enc_len;
}

int Utils::MACThenDecrypt(const uint8_t *shared_secret, uint8_t *dest, const uint8_t *src, int src_len)
{
	if (src_len <= (int)CIPHER_MAC_SIZE) return 0;
	uint8_t computed_mac[CIPHER_MAC_SIZE];
	if (compute_hmac_truncated(shared_secret, PUB_KEY_SIZE, src + CIPHER_MAC_SIZE, (size_t)src_len - CIPHER_MAC_SIZE, computed_mac, CIPHER_MAC_SIZE) != 0)
		return 0;
	/* Constant-time MAC compare. Runs on every encrypted packet — a
	 * timing oracle here would let attackers forge MACs byte-by-byte
	 * across the entire mesh, bypassing message authentication. */
	if (!Utils::constantTimeEqual(computed_mac, src, CIPHER_MAC_SIZE)) return 0;
	return decrypt(shared_secret, dest, src + CIPHER_MAC_SIZE, src_len - CIPHER_MAC_SIZE);
}

/* See header for rationale. The `volatile` accumulator forces
 * load-modify-store on every iteration; the loop branches on the
 * iterator (not the accumulator value); the final return uses
 * arithmetic that the compiler can't reduce to a conditional
 * branch on `result`. Disassembly-verified on Cortex-M4 with -Os:
 * loop body produces 16 unrolled XOR-OR iterations with no early
 * exit, final test uses CLZ (count-leading-zeros) + LSR. */
bool Utils::constantTimeEqual(const void *a, const void *b, size_t n)
{
	const uint8_t *pa = (const uint8_t *)a;
	const uint8_t *pb = (const uint8_t *)b;
	volatile uint8_t result = 0;
	for (size_t i = 0; i < n; i++) {
		result |= (uint8_t)(pa[i] ^ pb[i]);
	}
	return result == 0;
}

void Utils::cryptoPanicReboot(const char *msg)
{
	/* No pre-reboot k_msleep: printk is synchronous on RTT/UART so the
	 * line is already on the wire by the time sys_reboot fires, and the
	 * 2-second delay we used to do here just blocked the mesh thread on
	 * the rare-but-realistic ZephyrRNG::random() retry failure path. */
	printk("crypto panic: %s — rebooting\n", msg ? msg : "(no detail)");
	sys_reboot(SYS_REBOOT_COLD);
	for (;;) { /* sys_reboot is FUNC_NORETURN, but satisfy [[noreturn]] */ }
}

void Utils::secureZeroize(void *buf, size_t n)
{
	/* Volatile pointer prevents the compiler from eliminating the
	 * writes as dead store. Without this, GCC and Clang under -Os/-O2
	 * will elide trailing memset() calls on stack-local crypto
	 * buffers when the caller doesn't read them again — leaving
	 * secrets resident on the stack until the next call overwrites
	 * them. Standard idiom from BoringSSL, libsodium, etc. */
	volatile uint8_t *p = (volatile uint8_t *)buf;
	while (n--) {
		*p++ = 0;
	}
}

static const char hex_chars[] = "0123456789ABCDEF";

void Utils::toHex(char *dest, const uint8_t *src, size_t len)
{
	while (len > 0) {
		uint8_t b = *src++;
		*dest++ = hex_chars[b >> 4];
		*dest++ = hex_chars[b & 0x0F];
		len--;
	}
	*dest = 0;
}

bool Utils::fromHex(uint8_t *dest, int dest_size, const char *src_hex)
{
	size_t len = strlen(src_hex);
	if (len != (size_t)(dest_size * 2)) return false;
	uint8_t *dp = dest;
	while ((size_t)(dp - dest) < (size_t)dest_size) {
		char ch = *src_hex++;
		char cl = *src_hex++;
		*dp++ = (uint8_t)((hexVal(ch) << 4) | hexVal(cl));
	}
	return true;
}

bool Utils::isHexChar(char c)
{
	return (c >= '0' && c <= '9') || (c >= 'A' && c <= 'F') || (c >= 'a' && c <= 'f');
}

int Utils::parseTextParts(char *text, const char *parts[], int max_num, char separator)
{
	int num = 0;
	char *sp = text;
	while (*sp && num < max_num) {
		parts[num++] = sp;
		while (*sp && *sp != separator) sp++;
		if (*sp) {
			*sp++ = 0;
		}
	}
	while (*sp && *sp != separator) sp++;
	if (*sp) *sp = 0;
	return num;
}

} /* namespace mesh */
```
